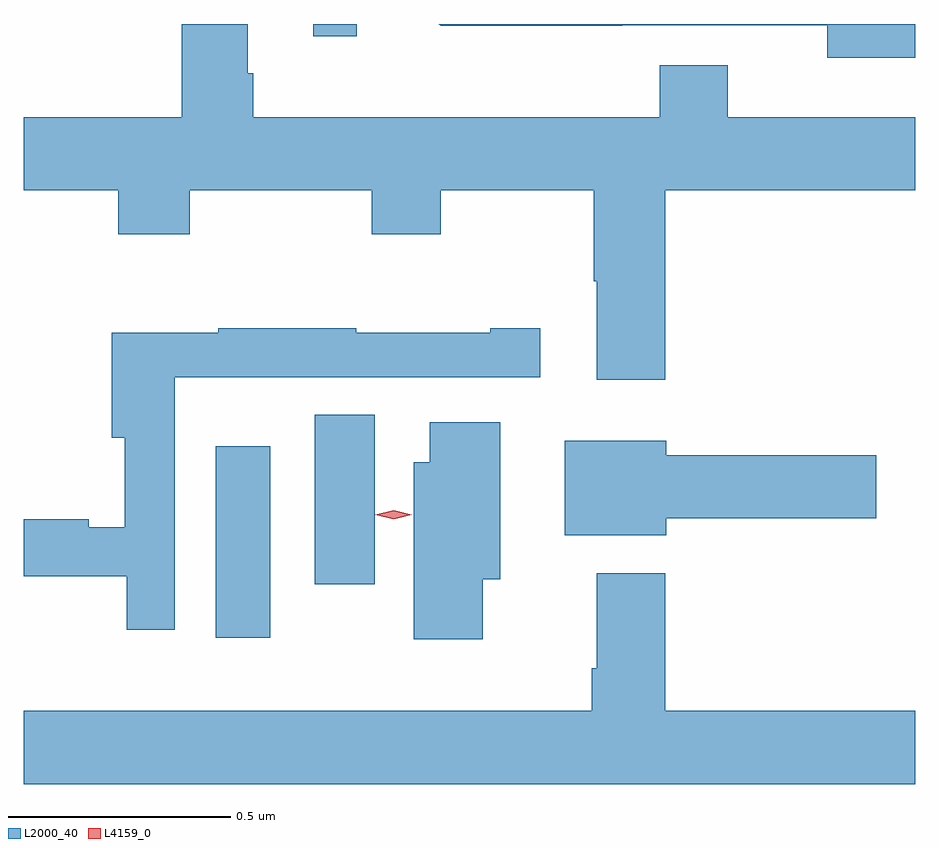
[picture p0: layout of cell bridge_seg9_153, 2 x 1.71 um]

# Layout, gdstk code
import gdstk
lib = gdstk.Library(unit=1e-6, precision=1e-09)
def R(c, l, rs):  # rectangles x0, y0, x1, y1
    for r in rs: c.add(gdstk.rectangle(r[:2], r[2:], *l))
def P(c, l, *ps):  # polygons
    for p in ps: c.add(gdstk.Polygon(p, *l))
L2000_40 = (2000, 40)
L4159_0 = (4159, 0)

bridge_seg9_153 = lib.new_cell('bridge_seg9_153')
R(bridge_seg9_153, L2000_40, [(555.86,1176.768,555.982,1177.198), (556.082,1176.888,556.216,1177.268), (556.079,1178.118,556.176,1178.145)])
P(bridge_seg9_153, L2000_40, [(557.429,1178.145),(556.36,1178.145),(556.364,1178.141),(556.772,1178.141),(556.772,1178.142),(557.232,1178.142),(557.232,1178.069),(557.429,1178.069)],
  [(556.868,1177.772),(557.429,1177.772),(557.429,1177.936),(557.008,1177.936),(557.008,1178.053),(556.856,1178.053),(556.856,1177.936),(555.944,1177.936),(555.944,1178.034),(555.931,1178.034),(555.931,1178.144),(555.784,1178.144),(555.784,1177.936),(555.429,1177.936),(555.429,1177.772),(555.641,1177.772),(555.641,1177.673),(555.801,1177.673),(555.801,1177.772),(556.21,1177.772),(556.21,1177.673),(556.365,1177.673),(556.365,1177.772),(556.708,1177.772),(556.708,1177.568),(556.715,1177.568),(556.715,1177.347),(556.868,1177.347)],
  [(555.768,1177.352),(555.978,1177.352),(555.978,1177.353),(556.588,1177.353),(556.588,1177.462),(556.475,1177.462),(556.475,1177.452),(556.175,1177.452),(556.175,1177.462),(555.865,1177.462),(555.865,1177.452),(555.626,1177.452),(555.626,1177.217),(555.656,1177.217),(555.656,1177.016),(555.575,1177.016),(555.575,1177.034),(555.429,1177.034),(555.429,1176.906),(555.66,1176.906),(555.66,1176.786),(555.768,1176.786)],
  [(556.459,1176.899),(556.498,1176.899),(556.498,1177.252),(556.34,1177.252),(556.34,1177.162),(556.304,1177.162),(556.304,1176.765),(556.459,1176.765)],
  [(556.87,1177.036),(557.341,1177.036),(557.341,1177.178),(556.87,1177.178),(556.87,1177.21),(556.643,1177.21),(556.643,1176.998),(556.87,1176.998)],
  [(557.429,1176.604),(556.868,1176.604),(556.868,1176.913),(556.715,1176.913),(556.715,1176.7),(556.703,1176.7),(556.703,1176.604),(555.429,1176.604),(555.429,1176.44),(557.429,1176.44)])
P(bridge_seg9_153, L4159_0, [(556.259,1177.034),(556.217,1177.044),(556.217,1177.044),(556.217,1177.044),(556.259,1177.054),(556.3,1177.044),(556.3,1177.044),(556.3,1177.044)])

lib.write_gds('bridge_seg9_153.gds')
